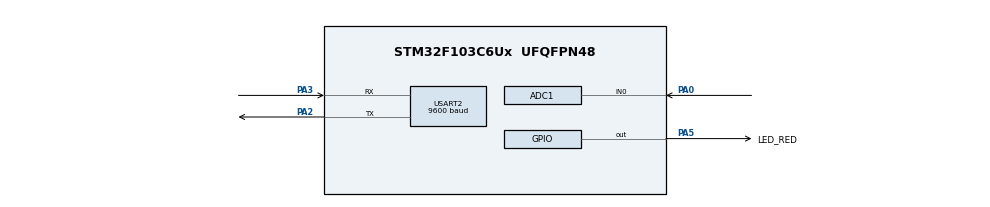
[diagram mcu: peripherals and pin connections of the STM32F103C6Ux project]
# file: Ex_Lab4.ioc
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ADC1.Channel-1\#ChannelRegularConversion=ADC_CHANNEL_0
ADC1.ContinuousConvMode=ENABLE
ADC1.NbrOfConversionFlag=1
ADC1.Rank-1\#ChannelRegularConversion=1
ADC1.SamplingTime-1\#ChannelRegularConversion=ADC_SAMPLETIME_1CYCLE_5
ADC1.master=1
Mcu.Family=STM32F1
Mcu.Name=STM32F103C6Ux
Mcu.Package=UFQFPN48
NVIC.PriorityGroup=NVIC_PRIORITYGROUP_4
NVIC.TIM2_IRQn=true\:0\:0\:false\:false\:true\:true\:true
NVIC.USART2_IRQn=true\:0\:0\:false\:false\:true\:true\:true
PA0-WKUP.Signal=ADCx_IN0
PA2.Mode=Asynchronous
PA2.Signal=USART2_TX
PA3.Mode=Asynchronous
PA3.Signal=USART2_RX
PA5.GPIO_Label=LED_RED
PA5.Signal=GPIO_Output
PA6.Signal=S_TIM3_CH1
ProjectManager.HeapSize=0x200
ProjectManager.StackSize=0x400
ProjectManager.TargetToolchain=STM32CubeIDE
RCC.APB1Freq_Value=8000000
RCC.APB2Freq_Value=8000000
SH.ADCx_IN0.0=ADC1_IN0,IN0
SH.S_TIM3_CH1.0=TIM3_CH1
TIM2.Period=9
TIM2.Prescaler=7999
USART2.BaudRate=9600
USART2.VirtualMode=VM_ASYNC
VP_SYS_VS_ND.Mode=No_Debug
VP_TIM2_VS_ClockSourceINT.Mode=Internal
board=custom

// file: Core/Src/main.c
/* USER CODE BEGIN Header */
/**
  ******************************************************************************
  * @file           : main.c
  * @brief          : Main program body
  ******************************************************************************
  * @attention
  *
  * <h2><center>&copy; Copyright (c) 2023 STMicroelectronics.
  * All rights reserved.</center></h2>
  *
  * This software component is licensed by ST under BSD 3-Clause license,
  * the "License"; You may not use this file except in compliance with the
  * License. You may obtain a copy of the License at:
  *                        opensource.org/licenses/BSD-3-Clause
  *
  ******************************************************************************
  */
/* USER CODE END Header */
#include "main.h"

/* USER CODE BEGIN Includes */
#include "software_timer.h"
#include "string.h"
#include "stdio.h"
#include "stdlib.h"
#include "uartFSM.h"
/* USER CODE END Includes */

ADC_HandleTypeDef hadc1;

TIM_HandleTypeDef htim2;

UART_HandleTypeDef huart2;

void SystemClock_Config(void);
static void MX_GPIO_Init(void);
static void MX_ADC1_Init(void);
static void MX_USART2_UART_Init(void);
static void MX_TIM2_Init(void);

/* USER CODE BEGIN 0 */

#define MAX_BUFFER_SIZE 30
#define INIT 10
#define READ 11
#define ADC  12
#define IDLE 13

#define RST 1
#define OK 2

uint8_t temp = 0;
uint8_t buffer[MAX_BUFFER_SIZE];
uint8_t index_buffer = 0;
uint8_t buffer_flag = 0;
uint8_t token_flag = 0;
int read_state = 10;
int token_state = 0;

uint32_t ADC_value = 0;
char str[20];
char data[MAX_BUFFER_SIZE];
int index_data = 0;

void HAL_UART_RxCpltCallback(UART_HandleTypeDef *huart) {
    if (huart->Instance == USART2) {
      HAL_UART_Transmit(&huart2, &temp, 1, 50);
    	buffer[index_buffer++] = temp;
    	if(index_buffer == 30)
    		index_buffer = 0;
      buffer_flag = 0;
      HAL_UART_Receive_IT(&huart2, &temp, 1);
    }
}

void clear(){
	memset(data,'\0',sizeof(data));
	index_data=0;
}

void command_parser_fsm() {
	switch(read_state){
	case INIT:
		if (buffer[index_buffer-1] == '!') {
			read_state = READ;
		}
        clear();
		break;
	case READ:
		if (buffer[index_buffer-1] == '!') {
			clear();
		}
		else if (buffer[index_buffer-1] == '#') {
			token_flag = 1;
			read_state = INIT;
		}
		else {
			data[index_data++] = buffer[index_buffer-1];
		}
		break;
	default:
		break;
	}
}

void uart_communication_fsm(){
	if (token_flag){
		if (strcmp(data,"RST") == 0) token_state = RST;
		else if (strcmp(data,"OK") == 0) token_state = OK;
        clear();
		token_flag = 0;
	}
	switch(token_state){
	case IDLE:
		break;
	case RST:
		HAL_ADC_Start(&hadc1);
		ADC_value = HAL_ADC_GetValue(&hadc1);
		HAL_ADC_Stop(&hadc1);
		HAL_UART_Transmit(&huart2, (void*)str, sprintf(str,"!ADC=%ld#\r\n",ADC_value), 100);
		setTimer1(100);
		token_state = ADC;
		break;
	case ADC:
		if (timer1_flag == 1){
			token_state = RST;
		}
		break;
	case OK:
		HAL_GPIO_TogglePin(LED_RED_GPIO_Port, LED_RED_Pin);
		setTimer1(0);
		timer1_flag = 0;
		token_state = IDLE;
	default:
		break;
	}
}
/* USER CODE END 0 */

int main(void)
{

  /* MCU Configuration--------------------------------------------------------*/

  /* Reset of all peripherals, Initializes the Flash interface and the Systick. */
  HAL_Init();

  /* Configure the system clock */
  SystemClock_Config();

  /* Initialize all configured peripherals */
  MX_GPIO_Init();
  MX_ADC1_Init();
  MX_USART2_UART_Init();
  MX_TIM2_Init();
  /* USER CODE BEGIN 2 */
  HAL_TIM_Base_Start(&htim2);
  HAL_UART_Receive_IT(&huart2, &temp, 1);
  /* USER CODE END 2 */

  /* Infinite loop */
  /* USER CODE BEGIN WHILE */
  uint32_t ADC_value = 0;
  while (1)
  {
	  if (buffer_flag == 1) {
	      command_parser_fsm();
	      buffer_flag = 0;
	  }
	  uart_communication_fsm();

    /* USER CODE END WHILE */

  }
}

void SystemClock_Config(void)
{
  RCC_OscInitTypeDef RCC_OscInitStruct = {0};
  RCC_ClkInitTypeDef RCC_ClkInitStruct = {0};
  RCC_PeriphCLKInitTypeDef PeriphClkInit = {0};

  /** Initializes the RCC Oscillators according to the specified parameters
  * in the RCC_OscInitTypeDef structure.
  */
  RCC_OscInitStruct.OscillatorType = RCC_OSCILLATORTYPE_HSI;
  RCC_OscInitStruct.HSIState = RCC_HSI_ON;
  RCC_OscInitStruct.HSICalibrationValue = RCC_HSICALIBRATION_DEFAULT;
  RCC_OscInitStruct.PLL.PLLState = RCC_PLL_NONE;
  if (HAL_RCC_OscConfig(&RCC_OscInitStruct) != HAL_OK)
  {
    Error_Handler();
  }
  /** Initializes the CPU, AHB and APB buses clocks
  */
  RCC_ClkInitStruct.ClockType = RCC_CLOCKTYPE_HCLK|RCC_CLOCKTYPE_SYSCLK
                              |RCC_CLOCKTYPE_PCLK1|RCC_CLOCKTYPE_PCLK2;
  RCC_ClkInitStruct.SYSCLKSource = RCC_SYSCLKSOURCE_HSI;
  RCC_ClkInitStruct.AHBCLKDivider = RCC_SYSCLK_DIV1;
  RCC_ClkInitStruct.APB1CLKDivider = RCC_HCLK_DIV1;
  RCC_ClkInitStruct.APB2CLKDivider = RCC_HCLK_DIV1;

  if (HAL_RCC_ClockConfig(&RCC_ClkInitStruct, FLASH_LATENCY_0) != HAL_OK)
  {
    Error_Handler();
  }
  PeriphClkInit.PeriphClockSelection = RCC_PERIPHCLK_ADC;
  PeriphClkInit.AdcClockSelection = RCC_ADCPCLK2_DIV2;
  if (HAL_RCCEx_PeriphCLKConfig(&PeriphClkInit) != HAL_OK)
  {
    Error_Handler();
  }
}

static void MX_ADC1_Init(void)
{

  ADC_ChannelConfTypeDef sConfig = {0};

  /** Common config
  */
  hadc1.Instance = ADC1;
  hadc1.Init.ScanConvMode = ADC_SCAN_DISABLE;
  hadc1.Init.ContinuousConvMode = ENABLE;
  hadc1.Init.DiscontinuousConvMode = DISABLE;
  hadc1.Init.ExternalTrigConv = ADC_SOFTWARE_START;
  hadc1.Init.DataAlign = ADC_DATAALIGN_RIGHT;
  hadc1.Init.NbrOfConversion = 1;
  if (HAL_ADC_Init(&hadc1) != HAL_OK)
  {
    Error_Handler();
  }
  /** Configure Regular Channel
  */
  sConfig.Channel = ADC_CHANNEL_0;
  sConfig.Rank = ADC_REGULAR_RANK_1;
  sConfig.SamplingTime = ADC_SAMPLETIME_1CYCLE_5;
  if (HAL_ADC_ConfigChannel(&hadc1, &sConfig) != HAL_OK)
  {
    Error_Handler();
  }

}

static void MX_TIM2_Init(void)
{

  TIM_ClockConfigTypeDef sClockSourceConfig = {0};
  TIM_MasterConfigTypeDef sMasterConfig = {0};

  htim2.Instance = TIM2;
  htim2.Init.Prescaler = 7999;
  htim2.Init.CounterMode = TIM_COUNTERMODE_UP;
  htim2.Init.Period = 9;
  htim2.Init.ClockDivision = TIM_CLOCKDIVISION_DIV1;
  htim2.Init.AutoReloadPreload = TIM_AUTORELOAD_PRELOAD_DISABLE;
  if (HAL_TIM_Base_Init(&htim2) != HAL_OK)
  {
    Error_Handler();
  }
  sClockSourceConfig.ClockSource = TIM_CLOCKSOURCE_INTERNAL;
  if (HAL_TIM_ConfigClockSource(&htim2, &sClockSourceConfig) != HAL_OK)
  {
    Error_Handler();
  }
  sMasterConfig.MasterOutputTrigger = TIM_TRGO_RESET;
  sMasterConfig.MasterSlaveMode = TIM_MASTERSLAVEMODE_DISABLE;
  if (HAL_TIMEx_MasterConfigSynchronization(&htim2, &sMasterConfig) != HAL_OK)
  {
    Error_Handler();
  }

}

static void MX_USART2_UART_Init(void)
{

  huart2.Instance = USART2;
  huart2.Init.BaudRate = 9600;
  huart2.Init.WordLength = UART_WORDLENGTH_8B;
  huart2.Init.StopBits = UART_STOPBITS_1;
  huart2.Init.Parity = UART_PARITY_NONE;
  huart2.Init.Mode = UART_MODE_TX_RX;
  huart2.Init.HwFlowCtl = UART_HWCONTROL_NONE;
  huart2.Init.OverSampling = UART_OVERSAMPLING_16;
  if (HAL_UART_Init(&huart2) != HAL_OK)
  {
    Error_Handler();
  }

}

static void MX_GPIO_Init(void)
{
  GPIO_InitTypeDef GPIO_InitStruct = {0};

  /* GPIO Ports Clock Enable */
  __HAL_RCC_GPIOA_CLK_ENABLE();

  /*Configure GPIO pin Output Level */
  HAL_GPIO_WritePin(LED_RED_GPIO_Port, LED_RED_Pin, GPIO_PIN_RESET);

  /*Configure GPIO pin : LED_RED_Pin */
  GPIO_InitStruct.Pin = LED_RED_Pin;
  GPIO_InitStruct.Mode = GPIO_MODE_OUTPUT_PP;
  GPIO_InitStruct.Pull = GPIO_NOPULL;
  GPIO_InitStruct.Speed = GPIO_SPEED_FREQ_LOW;
  HAL_GPIO_Init(LED_RED_GPIO_Port, &GPIO_InitStruct);

  /*Configure GPIO pin : PA6 */
  GPIO_InitStruct.Pin = GPIO_PIN_6;
  GPIO_InitStruct.Mode = GPIO_MODE_AF_PP;
  GPIO_InitStruct.Speed = GPIO_SPEED_FREQ_LOW;
  HAL_GPIO_Init(GPIOA, &GPIO_InitStruct);

}

/* USER CODE BEGIN 4 */
void HAL_TIM_PeriodElapsedCallback(TIM_HandleTypeDef *htim){
	timerRun();
}
/* USER CODE END 4 */

void Error_Handler(void)
{
  __disable_irq();
  while (1)
  {
  }
}

/************************ (C) COPYRIGHT STMicroelectronics *****END OF FILE****/
